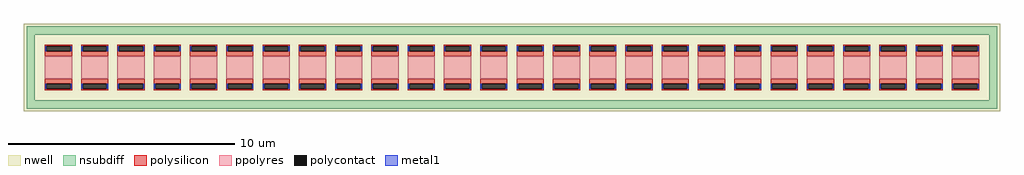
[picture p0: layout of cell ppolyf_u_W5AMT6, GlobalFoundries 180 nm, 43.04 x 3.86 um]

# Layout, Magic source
magic
tech gf180mcuC
magscale 1 10
<< nwell >>
rect -4304 -386 4304 386
<< nsubdiff >>
rect -4280 290 4280 362
rect -4280 -290 -4208 290
rect 4208 -290 4280 290
rect -4280 -362 4280 -290
<< polysilicon >>
rect -4120 189 -3880 202
rect -4120 143 -4107 189
rect -3893 143 -3880 189
rect -4120 100 -3880 143
rect -4120 -143 -3880 -100
rect -4120 -189 -4107 -143
rect -3893 -189 -3880 -143
rect -4120 -202 -3880 -189
rect -3800 189 -3560 202
rect -3800 143 -3787 189
rect -3573 143 -3560 189
rect -3800 100 -3560 143
rect -3800 -143 -3560 -100
rect -3800 -189 -3787 -143
rect -3573 -189 -3560 -143
rect -3800 -202 -3560 -189
rect -3480 189 -3240 202
rect -3480 143 -3467 189
rect -3253 143 -3240 189
rect -3480 100 -3240 143
rect -3480 -143 -3240 -100
rect -3480 -189 -3467 -143
rect -3253 -189 -3240 -143
rect -3480 -202 -3240 -189
rect -3160 189 -2920 202
rect -3160 143 -3147 189
rect -2933 143 -2920 189
rect -3160 100 -2920 143
rect -3160 -143 -2920 -100
rect -3160 -189 -3147 -143
rect -2933 -189 -2920 -143
rect -3160 -202 -2920 -189
rect -2840 189 -2600 202
rect -2840 143 -2827 189
rect -2613 143 -2600 189
rect -2840 100 -2600 143
rect -2840 -143 -2600 -100
rect -2840 -189 -2827 -143
rect -2613 -189 -2600 -143
rect -2840 -202 -2600 -189
rect -2520 189 -2280 202
rect -2520 143 -2507 189
rect -2293 143 -2280 189
rect -2520 100 -2280 143
rect -2520 -143 -2280 -100
rect -2520 -189 -2507 -143
rect -2293 -189 -2280 -143
rect -2520 -202 -2280 -189
rect -2200 189 -1960 202
rect -2200 143 -2187 189
rect -1973 143 -1960 189
rect -2200 100 -1960 143
rect -2200 -143 -1960 -100
rect -2200 -189 -2187 -143
rect -1973 -189 -1960 -143
rect -2200 -202 -1960 -189
rect -1880 189 -1640 202
rect -1880 143 -1867 189
rect -1653 143 -1640 189
rect -1880 100 -1640 143
rect -1880 -143 -1640 -100
rect -1880 -189 -1867 -143
rect -1653 -189 -1640 -143
rect -1880 -202 -1640 -189
rect -1560 189 -1320 202
rect -1560 143 -1547 189
rect -1333 143 -1320 189
rect -1560 100 -1320 143
rect -1560 -143 -1320 -100
rect -1560 -189 -1547 -143
rect -1333 -189 -1320 -143
rect -1560 -202 -1320 -189
rect -1240 189 -1000 202
rect -1240 143 -1227 189
rect -1013 143 -1000 189
rect -1240 100 -1000 143
rect -1240 -143 -1000 -100
rect -1240 -189 -1227 -143
rect -1013 -189 -1000 -143
rect -1240 -202 -1000 -189
rect -920 189 -680 202
rect -920 143 -907 189
rect -693 143 -680 189
rect -920 100 -680 143
rect -920 -143 -680 -100
rect -920 -189 -907 -143
rect -693 -189 -680 -143
rect -920 -202 -680 -189
rect -600 189 -360 202
rect -600 143 -587 189
rect -373 143 -360 189
rect -600 100 -360 143
rect -600 -143 -360 -100
rect -600 -189 -587 -143
rect -373 -189 -360 -143
rect -600 -202 -360 -189
rect -280 189 -40 202
rect -280 143 -267 189
rect -53 143 -40 189
rect -280 100 -40 143
rect -280 -143 -40 -100
rect -280 -189 -267 -143
rect -53 -189 -40 -143
rect -280 -202 -40 -189
rect 40 189 280 202
rect 40 143 53 189
rect 267 143 280 189
rect 40 100 280 143
rect 40 -143 280 -100
rect 40 -189 53 -143
rect 267 -189 280 -143
rect 40 -202 280 -189
rect 360 189 600 202
rect 360 143 373 189
rect 587 143 600 189
rect 360 100 600 143
rect 360 -143 600 -100
rect 360 -189 373 -143
rect 587 -189 600 -143
rect 360 -202 600 -189
rect 680 189 920 202
rect 680 143 693 189
rect 907 143 920 189
rect 680 100 920 143
rect 680 -143 920 -100
rect 680 -189 693 -143
rect 907 -189 920 -143
rect 680 -202 920 -189
rect 1000 189 1240 202
rect 1000 143 1013 189
rect 1227 143 1240 189
rect 1000 100 1240 143
rect 1000 -143 1240 -100
rect 1000 -189 1013 -143
rect 1227 -189 1240 -143
rect 1000 -202 1240 -189
rect 1320 189 1560 202
rect 1320 143 1333 189
rect 1547 143 1560 189
rect 1320 100 1560 143
rect 1320 -143 1560 -100
rect 1320 -189 1333 -143
rect 1547 -189 1560 -143
rect 1320 -202 1560 -189
rect 1640 189 1880 202
rect 1640 143 1653 189
rect 1867 143 1880 189
rect 1640 100 1880 143
rect 1640 -143 1880 -100
rect 1640 -189 1653 -143
rect 1867 -189 1880 -143
rect 1640 -202 1880 -189
rect 1960 189 2200 202
rect 1960 143 1973 189
rect 2187 143 2200 189
rect 1960 100 2200 143
rect 1960 -143 2200 -100
rect 1960 -189 1973 -143
rect 2187 -189 2200 -143
rect 1960 -202 2200 -189
rect 2280 189 2520 202
rect 2280 143 2293 189
rect 2507 143 2520 189
rect 2280 100 2520 143
rect 2280 -143 2520 -100
rect 2280 -189 2293 -143
rect 2507 -189 2520 -143
rect 2280 -202 2520 -189
rect 2600 189 2840 202
rect 2600 143 2613 189
rect 2827 143 2840 189
rect 2600 100 2840 143
rect 2600 -143 2840 -100
rect 2600 -189 2613 -143
rect 2827 -189 2840 -143
rect 2600 -202 2840 -189
rect 2920 189 3160 202
rect 2920 143 2933 189
rect 3147 143 3160 189
rect 2920 100 3160 143
rect 2920 -143 3160 -100
rect 2920 -189 2933 -143
rect 3147 -189 3160 -143
rect 2920 -202 3160 -189
rect 3240 189 3480 202
rect 3240 143 3253 189
rect 3467 143 3480 189
rect 3240 100 3480 143
rect 3240 -143 3480 -100
rect 3240 -189 3253 -143
rect 3467 -189 3480 -143
rect 3240 -202 3480 -189
rect 3560 189 3800 202
rect 3560 143 3573 189
rect 3787 143 3800 189
rect 3560 100 3800 143
rect 3560 -143 3800 -100
rect 3560 -189 3573 -143
rect 3787 -189 3800 -143
rect 3560 -202 3800 -189
rect 3880 189 4120 202
rect 3880 143 3893 189
rect 4107 143 4120 189
rect 3880 100 4120 143
rect 3880 -143 4120 -100
rect 3880 -189 3893 -143
rect 4107 -189 4120 -143
rect 3880 -202 4120 -189
<< polycontact >>
rect -4107 143 -3893 189
rect -4107 -189 -3893 -143
rect -3787 143 -3573 189
rect -3787 -189 -3573 -143
rect -3467 143 -3253 189
rect -3467 -189 -3253 -143
rect -3147 143 -2933 189
rect -3147 -189 -2933 -143
rect -2827 143 -2613 189
rect -2827 -189 -2613 -143
rect -2507 143 -2293 189
rect -2507 -189 -2293 -143
rect -2187 143 -1973 189
rect -2187 -189 -1973 -143
rect -1867 143 -1653 189
rect -1867 -189 -1653 -143
rect -1547 143 -1333 189
rect -1547 -189 -1333 -143
rect -1227 143 -1013 189
rect -1227 -189 -1013 -143
rect -907 143 -693 189
rect -907 -189 -693 -143
rect -587 143 -373 189
rect -587 -189 -373 -143
rect -267 143 -53 189
rect -267 -189 -53 -143
rect 53 143 267 189
rect 53 -189 267 -143
rect 373 143 587 189
rect 373 -189 587 -143
rect 693 143 907 189
rect 693 -189 907 -143
rect 1013 143 1227 189
rect 1013 -189 1227 -143
rect 1333 143 1547 189
rect 1333 -189 1547 -143
rect 1653 143 1867 189
rect 1653 -189 1867 -143
rect 1973 143 2187 189
rect 1973 -189 2187 -143
rect 2293 143 2507 189
rect 2293 -189 2507 -143
rect 2613 143 2827 189
rect 2613 -189 2827 -143
rect 2933 143 3147 189
rect 2933 -189 3147 -143
rect 3253 143 3467 189
rect 3253 -189 3467 -143
rect 3573 143 3787 189
rect 3573 -189 3787 -143
rect 3893 143 4107 189
rect 3893 -189 4107 -143
<< ppolyres >>
rect -4120 -100 -3880 100
rect -3800 -100 -3560 100
rect -3480 -100 -3240 100
rect -3160 -100 -2920 100
rect -2840 -100 -2600 100
rect -2520 -100 -2280 100
rect -2200 -100 -1960 100
rect -1880 -100 -1640 100
rect -1560 -100 -1320 100
rect -1240 -100 -1000 100
rect -920 -100 -680 100
rect -600 -100 -360 100
rect -280 -100 -40 100
rect 40 -100 280 100
rect 360 -100 600 100
rect 680 -100 920 100
rect 1000 -100 1240 100
rect 1320 -100 1560 100
rect 1640 -100 1880 100
rect 1960 -100 2200 100
rect 2280 -100 2520 100
rect 2600 -100 2840 100
rect 2920 -100 3160 100
rect 3240 -100 3480 100
rect 3560 -100 3800 100
rect 3880 -100 4120 100
<< metal1 >>
rect -4118 143 -4107 189
rect -3893 143 -3882 189
rect -3798 143 -3787 189
rect -3573 143 -3562 189
rect -3478 143 -3467 189
rect -3253 143 -3242 189
rect -3158 143 -3147 189
rect -2933 143 -2922 189
rect -2838 143 -2827 189
rect -2613 143 -2602 189
rect -2518 143 -2507 189
rect -2293 143 -2282 189
rect -2198 143 -2187 189
rect -1973 143 -1962 189
rect -1878 143 -1867 189
rect -1653 143 -1642 189
rect -1558 143 -1547 189
rect -1333 143 -1322 189
rect -1238 143 -1227 189
rect -1013 143 -1002 189
rect -918 143 -907 189
rect -693 143 -682 189
rect -598 143 -587 189
rect -373 143 -362 189
rect -278 143 -267 189
rect -53 143 -42 189
rect 42 143 53 189
rect 267 143 278 189
rect 362 143 373 189
rect 587 143 598 189
rect 682 143 693 189
rect 907 143 918 189
rect 1002 143 1013 189
rect 1227 143 1238 189
rect 1322 143 1333 189
rect 1547 143 1558 189
rect 1642 143 1653 189
rect 1867 143 1878 189
rect 1962 143 1973 189
rect 2187 143 2198 189
rect 2282 143 2293 189
rect 2507 143 2518 189
rect 2602 143 2613 189
rect 2827 143 2838 189
rect 2922 143 2933 189
rect 3147 143 3158 189
rect 3242 143 3253 189
rect 3467 143 3478 189
rect 3562 143 3573 189
rect 3787 143 3798 189
rect 3882 143 3893 189
rect 4107 143 4118 189
rect -4118 -189 -4107 -143
rect -3893 -189 -3882 -143
rect -3798 -189 -3787 -143
rect -3573 -189 -3562 -143
rect -3478 -189 -3467 -143
rect -3253 -189 -3242 -143
rect -3158 -189 -3147 -143
rect -2933 -189 -2922 -143
rect -2838 -189 -2827 -143
rect -2613 -189 -2602 -143
rect -2518 -189 -2507 -143
rect -2293 -189 -2282 -143
rect -2198 -189 -2187 -143
rect -1973 -189 -1962 -143
rect -1878 -189 -1867 -143
rect -1653 -189 -1642 -143
rect -1558 -189 -1547 -143
rect -1333 -189 -1322 -143
rect -1238 -189 -1227 -143
rect -1013 -189 -1002 -143
rect -918 -189 -907 -143
rect -693 -189 -682 -143
rect -598 -189 -587 -143
rect -373 -189 -362 -143
rect -278 -189 -267 -143
rect -53 -189 -42 -143
rect 42 -189 53 -143
rect 267 -189 278 -143
rect 362 -189 373 -143
rect 587 -189 598 -143
rect 682 -189 693 -143
rect 907 -189 918 -143
rect 1002 -189 1013 -143
rect 1227 -189 1238 -143
rect 1322 -189 1333 -143
rect 1547 -189 1558 -143
rect 1642 -189 1653 -143
rect 1867 -189 1878 -143
rect 1962 -189 1973 -143
rect 2187 -189 2198 -143
rect 2282 -189 2293 -143
rect 2507 -189 2518 -143
rect 2602 -189 2613 -143
rect 2827 -189 2838 -143
rect 2922 -189 2933 -143
rect 3147 -189 3158 -143
rect 3242 -189 3253 -143
rect 3467 -189 3478 -143
rect 3562 -189 3573 -143
rect 3787 -189 3798 -143
rect 3882 -189 3893 -143
rect 4107 -189 4118 -143
<< properties >>
string FIXED_BBOX -4244 -326 4244 326
string gencell ppolyf_u
string library gf180mcu
string parameters w 1.2 l 1.0 m 1 nx 26 wmin 0.80 lmin 1.00 rho 315 val 278.761 dummy 0 dw 0.07 term 0.0 sterm 0.0 caplen 0.4 snake 0 glc 0 grc 0 gtc 0 gbc 0 roverlap 0 endcov 100 full_metal 0
<< end >>
